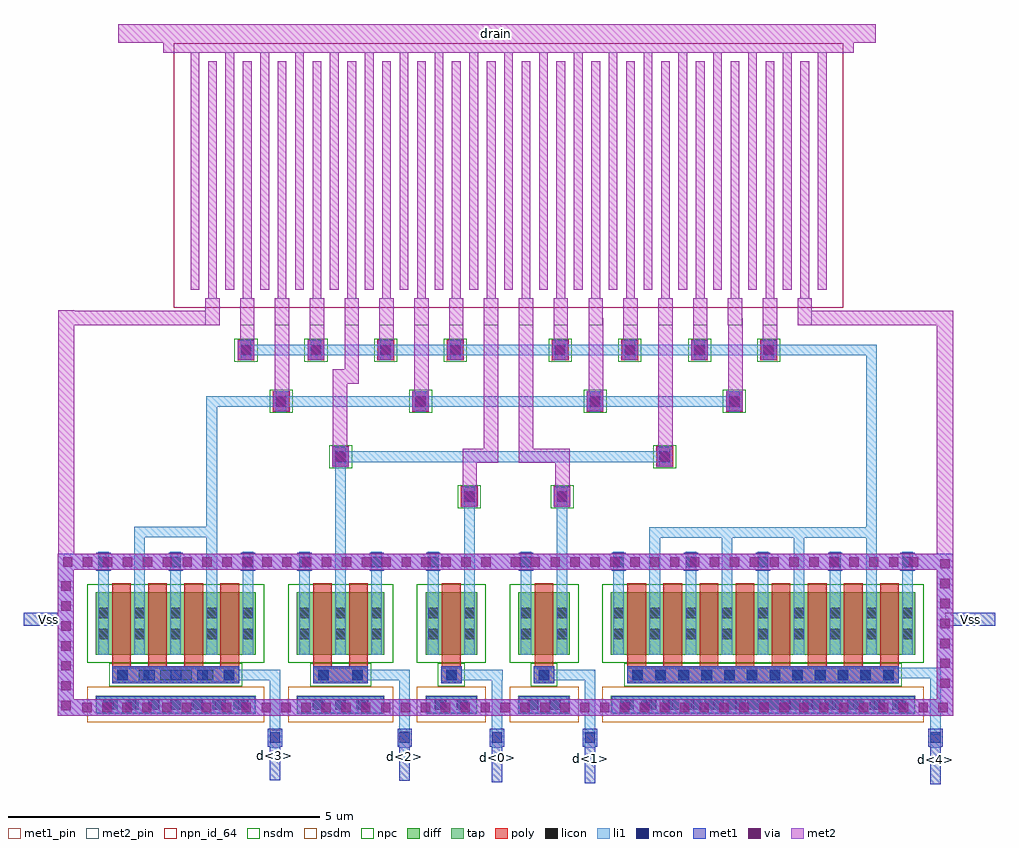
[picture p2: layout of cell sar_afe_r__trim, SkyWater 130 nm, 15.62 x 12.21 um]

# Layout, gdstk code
import gdstk
lib = gdstk.Library(unit=1e-6, precision=1e-09)
def R(c, l, rs):  # rectangles x0, y0, x1, y1
    for r in rs: c.add(gdstk.rectangle(r[:2], r[2:], *l))
def A(c, l, x, y, w, h, nx, ny, dx, dy):  # array of equal rectangles
    R(c, l, [(x+i*dx, y+j*dy, x+i*dx+w, y+j*dy+h) for i in range(nx) for j in range(ny)])
diff = (65, 20)
tap = (65, 44)
poly = (66, 20)
licon = (66, 44)
li1 = (67, 20)
mcon = (67, 44)
met1_pin = (68, 16)
met1 = (68, 20)
via = (68, 44)
met2_pin = (69, 16)
met2 = (69, 20)
npn_id_64 = (82, 64)
nsdm = (93, 44)
psdm = (94, 20)
npc = (95, 20)

sar_afe_r__nfet_01v8_cdn = lib.new_cell('sar_afe_r__nfet_01v8_CDNS_7924640690814')
R(sar_afe_r__nfet_01v8_cdn, diff, [(-0.265,0,0,1), (0,0,0.3,1), (0.3,0,0.565,1)])
R(sar_afe_r__nfet_01v8_cdn, tap, [(-0.265,-0.95,0.565,-0.66)])
R(sar_afe_r__nfet_01v8_cdn, poly, [(-0.015,-0.46,0.315,-0.19), (0,-0.19,0.3,0), (0,0,0.3,1), (0,1,0.3,1.15)])
R(sar_afe_r__nfet_01v8_cdn, licon, [(-0.105,-0.89,0.065,-0.72), (0.235,-0.89,0.405,-0.72), (0.065,-0.41,0.235,-0.24), (-0.225,0.245,-0.055,0.415), (0.355,0.245,0.525,0.415), (-0.225,0.585,-0.055,0.755), (0.355,0.585,0.525,0.755)])
R(sar_afe_r__nfet_01v8_cdn, li1, [(-0.255,-0.94,0.555,-0.67), (-0.015,-0.44,0.315,-0.21), (-0.225,0,-0.055,1), (0.355,0,0.525,1)])
R(sar_afe_r__nfet_01v8_cdn, mcon, [(-0.115,-0.89,0.055,-0.72), (0.245,-0.89,0.415,-0.72), (0.065,-0.41,0.235,-0.24)])
R(sar_afe_r__nfet_01v8_cdn, met1, [(-0.255,-0.94,0.555,-0.67), (-0.015,-0.46,0.315,-0.19)])
R(sar_afe_r__nfet_01v8_cdn, nsdm, [(-0.405,-0.13,0.705,1.13)])
R(sar_afe_r__nfet_01v8_cdn, psdm, [(-0.405,-1.09,0.705,-0.52)])
R(sar_afe_r__nfet_01v8_cdn, npc, [(-0.065,-0.51,0.365,-0.14)])
sar_afe_r__nfet_01v8_cdn.add(gdstk.Label('B', (0.15,-0.805), layer=68, texttype=20))
sar_afe_r__nfet_01v8_cdn.add(gdstk.Label('G_gcb_1', (0.15,-0.325), layer=68, texttype=20))
sar_afe_r__nfet_01v8_cdn.add(gdstk.Label('G_gcb_1', (0.15,-0.325), layer=67, texttype=20))
sar_afe_r__nfet_01v8_cdn.add(gdstk.Label('D_drain_1', (0.44,0.5), layer=67, texttype=20))
sar_afe_r__nfet_01v8_cdn.add(gdstk.Label('S_source_0', (-0.14,0.5), layer=67, texttype=20))
sar_afe_r__nfet_01v8_cdn.add(gdstk.Label('D_drain_1', (0.432,0.5), layer=65, texttype=20))
sar_afe_r__nfet_01v8_cdn.add(gdstk.Label('S_source_0', (-0.132,0.5), layer=65, texttype=20))

c_sar_afe_r__nfet_01v8_cdn = lib.new_cell('sar_afe_r__nfet_01v8_CDNS_7924640690815')
A(c_sar_afe_r__nfet_01v8_cdn, diff, 0, 0, 0.3, 1, 8, 1, 0.58, 0)
A(c_sar_afe_r__nfet_01v8_cdn, diff, 0.3, 0, 0.28, 1, 7, 1, 0.58, 0)
R(c_sar_afe_r__nfet_01v8_cdn, diff, [(-0.265,0,0,1), (4.36,0,4.625,1)])
R(c_sar_afe_r__nfet_01v8_cdn, tap, [(-0.265,-0.95,4.625,-0.66)])
A(c_sar_afe_r__nfet_01v8_cdn, poly, 0, -0.19, 0.3, 0.19, 8, 1, 0.58, 0)
A(c_sar_afe_r__nfet_01v8_cdn, poly, 0, 0, 0.3, 1, 8, 1, 0.58, 0)
A(c_sar_afe_r__nfet_01v8_cdn, poly, 0, 1, 0.3, 0.15, 8, 1, 0.58, 0)
R(c_sar_afe_r__nfet_01v8_cdn, poly, [(0,-0.46,4.36,-0.19)])
A(c_sar_afe_r__nfet_01v8_cdn, licon, -0.115, -0.89, 0.17, 0.17, 14, 1, 0.34, 0)
A(c_sar_afe_r__nfet_01v8_cdn, licon, 0.08, -0.41, 0.17, 0.17, 4, 1, 0.37, 0)
A(c_sar_afe_r__nfet_01v8_cdn, licon, 1.555, -0.41, 0.17, 0.17, 8, 1, 0.365, 0)
A(c_sar_afe_r__nfet_01v8_cdn, licon, -0.225, 0.245, 0.17, 0.17, 9, 2, 0.58, 0.34)
A(c_sar_afe_r__nfet_01v8_cdn, li1, -0.225, 0, 0.17, 1, 9, 1, 0.58, 0)
R(c_sar_afe_r__nfet_01v8_cdn, li1, [(-0.255,-0.94,4.615,-0.67), (0,-0.44,4.36,-0.21)])
A(c_sar_afe_r__nfet_01v8_cdn, mcon, -0.065, -0.89, 0.17, 0.17, 13, 1, 0.36, 0)
A(c_sar_afe_r__nfet_01v8_cdn, mcon, 0.08, -0.41, 0.17, 0.17, 4, 1, 0.37, 0)
A(c_sar_afe_r__nfet_01v8_cdn, mcon, 1.555, -0.41, 0.17, 0.17, 8, 1, 0.365, 0)
R(c_sar_afe_r__nfet_01v8_cdn, met1, [(-0.255,-0.94,4.615,-0.67), (0,-0.46,4.36,-0.19)])
R(c_sar_afe_r__nfet_01v8_cdn, nsdm, [(-0.405,-0.13,4.765,1.13)])
R(c_sar_afe_r__nfet_01v8_cdn, psdm, [(-0.405,-1.09,4.765,-0.52)])
R(c_sar_afe_r__nfet_01v8_cdn, npc, [(-0.05,-0.51,4.41,-0.14)])
c_sar_afe_r__nfet_01v8_cdn.add(gdstk.Label('B', (2.18,-0.805), layer=68, texttype=20))
c_sar_afe_r__nfet_01v8_cdn.add(gdstk.Label('G_gcb_1', (2.18,-0.325), layer=68, texttype=20))
c_sar_afe_r__nfet_01v8_cdn.add(gdstk.Label('G_gcb_1', (2.18,-0.325), layer=67, texttype=20))
c_sar_afe_r__nfet_01v8_cdn.add(gdstk.Label('S_source_8', (4.5,0.5), layer=67, texttype=20))
c_sar_afe_r__nfet_01v8_cdn.add(gdstk.Label('D_drain_7', (3.92,0.5), layer=67, texttype=20))
c_sar_afe_r__nfet_01v8_cdn.add(gdstk.Label('S_source_6', (3.34,0.5), layer=67, texttype=20))
c_sar_afe_r__nfet_01v8_cdn.add(gdstk.Label('D_drain_5', (2.76,0.5), layer=67, texttype=20))
c_sar_afe_r__nfet_01v8_cdn.add(gdstk.Label('S_source_4', (2.18,0.5), layer=67, texttype=20))
c_sar_afe_r__nfet_01v8_cdn.add(gdstk.Label('D_drain_3', (1.6,0.5), layer=67, texttype=20))
c_sar_afe_r__nfet_01v8_cdn.add(gdstk.Label('S_source_2', (1.02,0.5), layer=67, texttype=20))
c_sar_afe_r__nfet_01v8_cdn.add(gdstk.Label('D_drain_1', (0.44,0.5), layer=67, texttype=20))
c_sar_afe_r__nfet_01v8_cdn.add(gdstk.Label('S_source_0', (-0.14,0.5), layer=67, texttype=20))
c_sar_afe_r__nfet_01v8_cdn.add(gdstk.Label('S_source_8', (4.492,0.5), layer=65, texttype=20))
c_sar_afe_r__nfet_01v8_cdn.add(gdstk.Label('S_source_0', (-0.132,0.5), layer=65, texttype=20))

c_sar_afe_r__nfet_01v8_cdn_ = lib.new_cell('sar_afe_r__nfet_01v8_CDNS_7924640690816')
R(c_sar_afe_r__nfet_01v8_cdn_, diff, [(-0.265,0,0,1), (0,0,0.3,1), (0.3,0,0.58,1), (0.58,0,0.88,1), (0.88,0,1.145,1)])
R(c_sar_afe_r__nfet_01v8_cdn_, tap, [(-0.265,-0.95,1.145,-0.66)])
R(c_sar_afe_r__nfet_01v8_cdn_, poly, [(0,-0.46,0.88,-0.19), (0,-0.19,0.3,0), (0.58,-0.19,0.88,0), (0,0,0.3,1), (0.58,0,0.88,1), (0,1,0.3,1.15), (0.58,1,0.88,1.15)])
A(c_sar_afe_r__nfet_01v8_cdn_, licon, 0.015, -0.89, 0.17, 0.17, 3, 1, 0.34, 0)
A(c_sar_afe_r__nfet_01v8_cdn_, licon, -0.225, 0.245, 0.17, 0.17, 3, 2, 0.58, 0.34)
R(c_sar_afe_r__nfet_01v8_cdn_, licon, [(0.08,-0.41,0.25,-0.24), (0.63,-0.41,0.8,-0.24)])
A(c_sar_afe_r__nfet_01v8_cdn_, li1, -0.225, 0, 0.17, 1, 3, 1, 0.58, 0)
R(c_sar_afe_r__nfet_01v8_cdn_, li1, [(-0.255,-0.94,1.135,-0.67), (0,-0.44,0.88,-0.21)])
A(c_sar_afe_r__nfet_01v8_cdn_, mcon, -0.005, -0.89, 0.17, 0.17, 3, 1, 0.36, 0)
R(c_sar_afe_r__nfet_01v8_cdn_, mcon, [(0.08,-0.41,0.25,-0.24), (0.63,-0.41,0.8,-0.24)])
R(c_sar_afe_r__nfet_01v8_cdn_, met1, [(-0.255,-0.94,1.135,-0.67), (0,-0.46,0.88,-0.19)])
R(c_sar_afe_r__nfet_01v8_cdn_, nsdm, [(-0.405,-0.13,1.285,1.13)])
R(c_sar_afe_r__nfet_01v8_cdn_, psdm, [(-0.405,-1.09,1.285,-0.52)])
R(c_sar_afe_r__nfet_01v8_cdn_, npc, [(-0.05,-0.51,0.93,-0.14)])
c_sar_afe_r__nfet_01v8_cdn_.add(gdstk.Label('B', (0.44,-0.805), layer=68, texttype=20))
c_sar_afe_r__nfet_01v8_cdn_.add(gdstk.Label('G_gcb_1', (0.44,-0.325), layer=68, texttype=20))
c_sar_afe_r__nfet_01v8_cdn_.add(gdstk.Label('G_gcb_1', (0.44,-0.325), layer=67, texttype=20))
c_sar_afe_r__nfet_01v8_cdn_.add(gdstk.Label('S_source_2', (1.02,0.5), layer=67, texttype=20))
c_sar_afe_r__nfet_01v8_cdn_.add(gdstk.Label('D_drain_1', (0.44,0.5), layer=67, texttype=20))
c_sar_afe_r__nfet_01v8_cdn_.add(gdstk.Label('S_source_0', (-0.14,0.5), layer=67, texttype=20))
c_sar_afe_r__nfet_01v8_cdn_.add(gdstk.Label('S_source_2', (1.012,0.5), layer=65, texttype=20))
c_sar_afe_r__nfet_01v8_cdn_.add(gdstk.Label('S_source_0', (-0.132,0.5), layer=65, texttype=20))

c_sar_afe_r__nfet_01v8_cdn__ = lib.new_cell('sar_afe_r__nfet_01v8_CDNS_7924640690817')
A(c_sar_afe_r__nfet_01v8_cdn__, diff, 0, 0, 0.3, 1, 4, 1, 0.58, 0)
A(c_sar_afe_r__nfet_01v8_cdn__, diff, 0.3, 0, 0.28, 1, 3, 1, 0.58, 0)
R(c_sar_afe_r__nfet_01v8_cdn__, diff, [(-0.265,0,0,1), (2.04,0,2.305,1)])
R(c_sar_afe_r__nfet_01v8_cdn__, tap, [(-0.265,-0.95,2.305,-0.66)])
A(c_sar_afe_r__nfet_01v8_cdn__, poly, 0, -0.19, 0.3, 0.19, 4, 1, 0.58, 0)
A(c_sar_afe_r__nfet_01v8_cdn__, poly, 0, 0, 0.3, 1, 4, 1, 0.58, 0)
A(c_sar_afe_r__nfet_01v8_cdn__, poly, 0, 1, 0.3, 0.15, 4, 1, 0.58, 0)
R(c_sar_afe_r__nfet_01v8_cdn__, poly, [(0,-0.46,2.04,-0.19)])
A(c_sar_afe_r__nfet_01v8_cdn__, licon, -0.085, -0.89, 0.17, 0.17, 7, 1, 0.34, 0)
A(c_sar_afe_r__nfet_01v8_cdn__, licon, 0.08, -0.41, 0.17, 0.17, 3, 1, 0.345, 0)
A(c_sar_afe_r__nfet_01v8_cdn__, licon, 1.11, -0.41, 0.17, 0.17, 3, 1, 0.34, 0)
A(c_sar_afe_r__nfet_01v8_cdn__, licon, -0.225, 0.245, 0.17, 0.17, 5, 2, 0.58, 0.34)
A(c_sar_afe_r__nfet_01v8_cdn__, li1, -0.225, 0, 0.17, 1, 5, 1, 0.58, 0)
R(c_sar_afe_r__nfet_01v8_cdn__, li1, [(-0.255,-0.94,2.295,-0.67), (0,-0.44,2.04,-0.21)])
A(c_sar_afe_r__nfet_01v8_cdn__, mcon, -0.145, -0.89, 0.17, 0.17, 7, 1, 0.36, 0)
A(c_sar_afe_r__nfet_01v8_cdn__, mcon, 0.08, -0.41, 0.17, 0.17, 3, 1, 0.43, 0)
R(c_sar_afe_r__nfet_01v8_cdn__, mcon, [(1.365,-0.41,1.535,-0.24), (1.79,-0.41,1.96,-0.24)])
R(c_sar_afe_r__nfet_01v8_cdn__, met1, [(-0.255,-0.94,2.295,-0.67), (0,-0.46,2.04,-0.19)])
R(c_sar_afe_r__nfet_01v8_cdn__, nsdm, [(-0.405,-0.13,2.445,1.13)])
R(c_sar_afe_r__nfet_01v8_cdn__, psdm, [(-0.405,-1.09,2.445,-0.52)])
R(c_sar_afe_r__nfet_01v8_cdn__, npc, [(-0.05,-0.51,2.09,-0.14)])
c_sar_afe_r__nfet_01v8_cdn__.add(gdstk.Label('B', (1.02,-0.805), layer=68, texttype=20))
c_sar_afe_r__nfet_01v8_cdn__.add(gdstk.Label('G_gcb_1', (1.02,-0.325), layer=68, texttype=20))
c_sar_afe_r__nfet_01v8_cdn__.add(gdstk.Label('G_gcb_1', (1.02,-0.325), layer=67, texttype=20))
c_sar_afe_r__nfet_01v8_cdn__.add(gdstk.Label('S_source_4', (2.18,0.5), layer=67, texttype=20))
c_sar_afe_r__nfet_01v8_cdn__.add(gdstk.Label('D_drain_3', (1.6,0.5), layer=67, texttype=20))
c_sar_afe_r__nfet_01v8_cdn__.add(gdstk.Label('S_source_2', (1.02,0.5), layer=67, texttype=20))
c_sar_afe_r__nfet_01v8_cdn__.add(gdstk.Label('D_drain_1', (0.44,0.5), layer=67, texttype=20))
c_sar_afe_r__nfet_01v8_cdn__.add(gdstk.Label('S_source_0', (-0.14,0.5), layer=67, texttype=20))
c_sar_afe_r__nfet_01v8_cdn__.add(gdstk.Label('S_source_4', (2.172,0.5), layer=65, texttype=20))
c_sar_afe_r__nfet_01v8_cdn__.add(gdstk.Label('S_source_0', (-0.132,0.5), layer=65, texttype=20))

sar_afe_r__sarcta__c0 = lib.new_cell('sar_afe_r__sarcta__C0')
R(sar_afe_r__sarcta__c0, met2_pin, [(0.675,-0.315,0.905,0.12), (0,4.07,1.58,4.39)])
R(sar_afe_r__sarcta__c0, met2, [(0.675,-0.315,0.905,0.12), (0.72,0.12,0.86,3.93), (0.44,0.26,0.58,4.07), (1,0.26,1.14,4.07), (0,4.07,1.58,4.39)])
R(sar_afe_r__sarcta__c0, npn_id_64, [(0.17,-0.03,1.41,4.22), (0.17,-0.03,1.41,4.22)])
sar_afe_r__sarcta__c0.add(gdstk.Label('cn', (0.79,-0.097), layer=69, texttype=20))
sar_afe_r__sarcta__c0.add(gdstk.Label('cp', (0.79,4.23), layer=69, texttype=20))
sar_afe_r__sarcta__c0.add(gdstk.Label('cp', (0.79,4.23), layer=69, texttype=16))
sar_afe_r__sarcta__c0.add(gdstk.Label('cn', (0.79,-0.097), layer=69, texttype=16))

sar_afe_r__sarct__trim_a = lib.new_cell('sar_afe_r__sarct__trim_array')
sar_afe_r__sarct__trim_a.add(gdstk.Reference(sar_afe_r__sarcta__c0, (0,0.115)))
sar_afe_r__sarct__trim_a.add(gdstk.Reference(sar_afe_r__sarcta__c0, (9.52,0.115)))
sar_afe_r__sarct__trim_a.add(gdstk.Reference(sar_afe_r__sarcta__c0, (8.96,0.115)))
sar_afe_r__sarct__trim_a.add(gdstk.Reference(sar_afe_r__sarcta__c0, (8.4,0.115)))
sar_afe_r__sarct__trim_a.add(gdstk.Reference(sar_afe_r__sarcta__c0, (7.84,0.115)))
sar_afe_r__sarct__trim_a.add(gdstk.Reference(sar_afe_r__sarcta__c0, (7.28,0.115)))
sar_afe_r__sarct__trim_a.add(gdstk.Reference(sar_afe_r__sarcta__c0, (6.72,0.115)))
sar_afe_r__sarct__trim_a.add(gdstk.Reference(sar_afe_r__sarcta__c0, (6.16,0.115)))
sar_afe_r__sarct__trim_a.add(gdstk.Reference(sar_afe_r__sarcta__c0, (5.6,0.115)))
sar_afe_r__sarct__trim_a.add(gdstk.Reference(sar_afe_r__sarcta__c0, (5.04,0.115)))
sar_afe_r__sarct__trim_a.add(gdstk.Reference(sar_afe_r__sarcta__c0, (4.48,0.115)))
sar_afe_r__sarct__trim_a.add(gdstk.Reference(sar_afe_r__sarcta__c0, (3.92,0.115)))
sar_afe_r__sarct__trim_a.add(gdstk.Reference(sar_afe_r__sarcta__c0, (3.36,0.115)))
sar_afe_r__sarct__trim_a.add(gdstk.Reference(sar_afe_r__sarcta__c0, (2.8,0.115)))
sar_afe_r__sarct__trim_a.add(gdstk.Reference(sar_afe_r__sarcta__c0, (2.24,0.115)))
sar_afe_r__sarct__trim_a.add(gdstk.Reference(sar_afe_r__sarcta__c0, (1.68,0.115)))
sar_afe_r__sarct__trim_a.add(gdstk.Reference(sar_afe_r__sarcta__c0, (1.12,0.115)))
sar_afe_r__sarct__trim_a.add(gdstk.Reference(sar_afe_r__sarcta__c0, (0.56,0.115)))

sar_afe_r__l1m1_c_cdns_7 = lib.new_cell('sar_afe_r__L1M1_C_CDNS_7924640690836')
R(sar_afe_r__l1m1_c_cdns_7, li1, [(-0.085,-0.165,0.085,0.165)])
R(sar_afe_r__l1m1_c_cdns_7, mcon, [(-0.085,-0.085,0.085,0.085)])
R(sar_afe_r__l1m1_c_cdns_7, met1, [(-0.115,-0.145,0.115,0.145)])

sar_afe_r__m1m2_c_cdns_7 = lib.new_cell('sar_afe_r__M1M2_C_CDNS_792464069080')
R(sar_afe_r__m1m2_c_cdns_7, met1, [(-0.13,-0.16,0.13,0.16)])
R(sar_afe_r__m1m2_c_cdns_7, via, [(-0.075,-0.075,0.075,0.075)])
R(sar_afe_r__m1m2_c_cdns_7, met2, [(-0.13,-0.16,0.13,0.16)])

sar_afe_r__polyconn_cdns = lib.new_cell('sar_afe_r__polyConn_CDNS_7924640690813')
R(sar_afe_r__polyconn_cdns, poly, [(-0.135,-0.165,0.135,0.165)])
R(sar_afe_r__polyconn_cdns, licon, [(-0.085,-0.085,0.085,0.085)])
R(sar_afe_r__polyconn_cdns, li1, [(-0.085,-0.165,0.085,0.165)])
R(sar_afe_r__polyconn_cdns, mcon, [(-0.085,-0.085,0.085,0.085)])
R(sar_afe_r__polyconn_cdns, met1, [(-0.13,-0.16,0.13,0.16)])
R(sar_afe_r__polyconn_cdns, npc, [(-0.185,-0.185,0.185,0.185)])

sar_afe_r__trim = lib.new_cell('sar_afe_r__trim')
R(sar_afe_r__trim, met1_pin, [(14.03,-0.025,14.2,0.775), (8.48,-0.01,8.65,0.79), (6.985,0.005,7.155,0.805), (5.5,0.025,5.67,0.825), (3.415,0.035,3.585,0.835), (14.27,2.52,15.08,2.725)])
R(sar_afe_r__trim, met1, [(14.03,-0.025,14.2,0.775), (8.48,-0.01,8.65,0.79), (6.985,0.005,7.155,0.805), (5.5,0.025,5.67,0.825), (3.415,0.035,3.585,0.835), (3.415,0.035,3.585,0.835), (-0.54,2.52,0.27,2.725), (14.27,2.52,15.08,2.725)])
A(sar_afe_r__trim, via, 0.405, 1.13, 0.15, 0.15, 44, 1, 0.32, 0)
A(sar_afe_r__trim, via, 0.065, 1.16, 0.15, 0.15, 1, 7, 0, 0.32)
A(sar_afe_r__trim, via, 14.195, 1.52, 0.15, 0.15, 1, 7, 0, 0.32)
A(sar_afe_r__trim, via, 0.095, 3.47, 0.15, 0.15, 22, 1, 0.32, 0)
A(sar_afe_r__trim, via, 7.29, 3.47, 0.15, 0.15, 21, 1, 0.32, 0)
R(sar_afe_r__trim, met2_pin, [(0.98,11.89,13.155,12.19)])
R(sar_afe_r__trim, met2, [(0.98,11.89,13.155,12.19)])
sar_afe_r__trim.add(gdstk.FlexPath([(7.535,5.25),(8.12,5.25)], 0.23, ends="extended", simple_path=True, layer=69, datatype=20))  # met2
sar_afe_r__trim.add(gdstk.FlexPath([(2.475,7.465),(0.15,7.465)], 0.23, ends=(0.13, 0.13), simple_path=True, layer=69, datatype=20))  # met2
sar_afe_r__trim.add(gdstk.FlexPath([(14.175,7.465),(11.905,7.465)], 0.23, ends=(0.13, 0), simple_path=True, layer=69, datatype=20))  # met2
sar_afe_r__trim.add(gdstk.FlexPath([(8.66,7.46),(8.66,6.125)], 0.23, ends="flush", simple_path=True, layer=69, datatype=20))  # met2
sar_afe_r__trim.add(gdstk.FlexPath([(6.975,7.46),(6.975,5.25)], 0.23, ends=(0, 0.115), simple_path=True, layer=69, datatype=20))  # met2
sar_afe_r__trim.add(gdstk.FlexPath([(10.9,7.46),(10.9,6.125)], 0.23, ends="flush", simple_path=True, layer=69, datatype=20))  # met2
sar_afe_r__trim.add(gdstk.FlexPath([(3.055,7.46),(3.055,6.945)], 0.23, ends="flush", simple_path=True, layer=69, datatype=20))  # met2
sar_afe_r__trim.add(gdstk.FlexPath([(7.535,7.46),(7.535,5.25)], 0.23, ends=(0, 0.115), simple_path=True, layer=69, datatype=20))  # met2
sar_afe_r__trim.add(gdstk.FlexPath([(5.295,7.665),(5.295,6.945)], 0.23, ends="flush", simple_path=True, layer=69, datatype=20))  # met2
sar_afe_r__trim.add(gdstk.FlexPath([(4.175,7.46),(4.175,6.945)], 0.23, ends="flush", simple_path=True, layer=69, datatype=20))  # met2
sar_afe_r__trim.add(gdstk.FlexPath([(8.095,7.46),(8.095,6.945)], 0.23, ends="flush", simple_path=True, layer=69, datatype=20))  # met2
sar_afe_r__trim.add(gdstk.FlexPath([(10.335,7.46),(10.335,6.945)], 0.23, ends="flush", simple_path=True, layer=69, datatype=20))  # met2
sar_afe_r__trim.add(gdstk.FlexPath([(6.415,7.46),(6.415,6.945)], 0.23, ends="flush", simple_path=True, layer=69, datatype=20))  # met2
sar_afe_r__trim.add(gdstk.FlexPath([(11.455,7.46),(11.455,6.945)], 0.23, ends="flush", simple_path=True, layer=69, datatype=20))  # met2
sar_afe_r__trim.add(gdstk.FlexPath([(8.12,5.25),(8.12,4.595)], 0.23, ends=(0.115, 0), simple_path=True, layer=69, datatype=20))  # met2
sar_afe_r__trim.add(gdstk.FlexPath([(6.63,5.25),(6.63,4.595)], 0.23, ends=(0.115, 0), simple_path=True, layer=69, datatype=20))  # met2
sar_afe_r__trim.add(gdstk.FlexPath([(5.855,7.46),(5.855,6.125)], 0.23, ends="flush", simple_path=True, layer=69, datatype=20))  # met2
sar_afe_r__trim.add(gdstk.FlexPath([(4.735,7.46),(4.735,6.525)], 0.23, ends=(0, 0.115), simple_path=True, layer=69, datatype=20))  # met2
sar_afe_r__trim.add(gdstk.FlexPath([(7.205,3.545),(14.27,3.545),(14.27,1.205),(0.14,1.205),(0.14,3.545),(7.205,3.545)], 0.26, ends="flush", simple_path=True, layer=69, datatype=20))  # met2
sar_afe_r__trim.add(gdstk.FlexPath([(9.215,7.46),(9.215,6.945)], 0.23, ends="flush", simple_path=True, layer=69, datatype=20))  # met2
sar_afe_r__trim.add(gdstk.FlexPath([(9.775,7.46),(9.775,5.26)], 0.23, ends="flush", simple_path=True, layer=69, datatype=20))  # met2
sar_afe_r__trim.add(gdstk.FlexPath([(3.615,7.46),(3.615,6.125)], 0.23, ends="flush", simple_path=True, layer=69, datatype=20))  # met2
sar_afe_r__trim.add(gdstk.FlexPath([(6.975,5.25),(6.63,5.25)], 0.23, ends="extended", simple_path=True, layer=69, datatype=20))  # met2
sar_afe_r__trim.add(gdstk.FlexPath([(4.735,6.525),(4.545,6.525)], 0.23, ends="extended", simple_path=True, layer=69, datatype=20))  # met2
sar_afe_r__trim.add(gdstk.FlexPath([(14.27,7.58),(14.27,3.415)], 0.26, ends="flush", simple_path=True, layer=69, datatype=20))  # met2
sar_afe_r__trim.add(gdstk.FlexPath([(0.145,7.59),(0.145,3.415)], 0.26, ends="flush", simple_path=True, layer=69, datatype=20))  # met2
sar_afe_r__trim.add(gdstk.FlexPath([(4.545,6.525),(4.545,5.235)], 0.23, ends=(0.115, 0), simple_path=True, layer=69, datatype=20))  # met2
sar_afe_r__trim.add(gdstk.FlexPath([(7.205,3.545),(14.27,3.545),(14.27,1.205),(0.14,1.205),(0.14,3.545),(7.205,3.545)], 0.26, ends="flush", simple_path=True, layer=68, datatype=20))  # met1
sar_afe_r__trim.add(gdstk.FlexPath([(5.585,1.73),(5.585,1.755)], 0.17, ends=(0.085, 0), simple_path=True, layer=67, datatype=20))  # li1
sar_afe_r__trim.add(gdstk.FlexPath([(5.58,1.73),(4.965,1.73)], 0.17, ends=(0.085, 0), simple_path=True, layer=67, datatype=20))  # li1
sar_afe_r__trim.add(gdstk.FlexPath([(7.07,1.73),(6.45,1.73)], 0.17, ends=(0.085, 0), simple_path=True, layer=67, datatype=20))  # li1
sar_afe_r__trim.add(gdstk.FlexPath([(14.2,1.76),(13.525,1.76)], 0.17, ends="flush", simple_path=True, layer=67, datatype=20))  # li1
sar_afe_r__trim.add(gdstk.FlexPath([(8.565,1.73),(7.99,1.73)], 0.17, ends=(0.085, 0), simple_path=True, layer=67, datatype=20))  # li1
sar_afe_r__trim.add(gdstk.FlexPath([(7.075,1.73),(7.07,1.73)], 0.17, ends="extended", simple_path=True, layer=67, datatype=20))  # li1
sar_afe_r__trim.add(gdstk.FlexPath([(5.585,1.73),(5.58,1.73)], 0.17, ends="extended", simple_path=True, layer=67, datatype=20))  # li1
sar_afe_r__trim.add(gdstk.FlexPath([(5.58,1.76),(5.58,1.73)], 0.17, ends=(0, 0.085), simple_path=True, layer=67, datatype=20))  # li1
sar_afe_r__trim.add(gdstk.FlexPath([(3.5,1.73),(2.925,1.73)], 0.17, ends=(0.085, 0), simple_path=True, layer=67, datatype=20))  # li1
sar_afe_r__trim.add(gdstk.FlexPath([(3.5,1.73),(3.5,1.78)], 0.17, ends=(0.085, 0), simple_path=True, layer=67, datatype=20))  # li1
sar_afe_r__trim.add(gdstk.FlexPath([(2.485,4.025),(2.485,6.125)], 0.17, ends="extended", simple_path=True, layer=67, datatype=20))  # li1
sar_afe_r__trim.add(gdstk.FlexPath([(2.485,4.025),(2.54,4.025)], 0.17, ends=(0.085, 0), simple_path=True, layer=67, datatype=20))  # li1
sar_afe_r__trim.add(gdstk.FlexPath([(1.325,4.025),(2.485,4.025)], 0.17, ends="extended", simple_path=True, layer=67, datatype=20))  # li1
sar_afe_r__trim.add(gdstk.FlexPath([(1.325,3.055),(1.325,4.025)], 0.17, ends=(0, 0.085), simple_path=True, layer=67, datatype=20))  # li1
sar_afe_r__trim.add(gdstk.FlexPath([(2.485,6.125),(10.885,6.125)], 0.17, ends=(0.085, 0), simple_path=True, layer=67, datatype=20))  # li1
sar_afe_r__trim.add(gdstk.FlexPath([(2.485,3.055),(2.485,4.025)], 0.17, ends=(0, 0.085), simple_path=True, layer=67, datatype=20))  # li1
sar_afe_r__trim.add(gdstk.FlexPath([(8.565,0.83),(8.565,1.73)], 0.17, ends="flush", simple_path=True, layer=67, datatype=20))  # li1
sar_afe_r__trim.add(gdstk.FlexPath([(14.115,0.83),(14.115,1.755)], 0.17, ends="flush", simple_path=True, layer=67, datatype=20))  # li1
sar_afe_r__trim.add(gdstk.FlexPath([(3.5,0.83),(3.5,1.73)], 0.17, ends=(0, 0.085), simple_path=True, layer=67, datatype=20))  # li1
sar_afe_r__trim.add(gdstk.FlexPath([(5.585,0.83),(5.585,1.73)], 0.17, ends=(0, 0.085), simple_path=True, layer=67, datatype=20))  # li1
sar_afe_r__trim.add(gdstk.FlexPath([(7.07,0.83),(7.07,1.73)], 0.17, ends=(0, 0.085), simple_path=True, layer=67, datatype=20))  # li1
sar_afe_r__trim.add(gdstk.FlexPath([(13.085,6.95),(3.035,6.95)], 0.17, ends=(0.085, 0), simple_path=True, layer=67, datatype=20))  # li1
sar_afe_r__trim.add(gdstk.FlexPath([(8.115,3.055),(8.115,4.74)], 0.17, ends="flush", simple_path=True, layer=67, datatype=20))  # li1
sar_afe_r__trim.add(gdstk.FlexPath([(13.665,3.055),(13.665,3.545)], 0.17, ends="flush", simple_path=True, layer=67, datatype=20))  # li1
sar_afe_r__trim.add(gdstk.FlexPath([(12.505,3.055),(12.505,3.545)], 0.17, ends="flush", simple_path=True, layer=67, datatype=20))  # li1
sar_afe_r__trim.add(gdstk.FlexPath([(11.345,3.055),(11.345,3.545)], 0.17, ends="flush", simple_path=True, layer=67, datatype=20))  # li1
sar_afe_r__trim.add(gdstk.FlexPath([(10.185,3.055),(10.185,3.545)], 0.17, ends="flush", simple_path=True, layer=67, datatype=20))  # li1
sar_afe_r__trim.add(gdstk.FlexPath([(9.025,3.055),(9.025,3.545)], 0.17, ends="flush", simple_path=True, layer=67, datatype=20))  # li1
sar_afe_r__trim.add(gdstk.FlexPath([(7.535,3.055),(7.535,3.545)], 0.17, ends="flush", simple_path=True, layer=67, datatype=20))  # li1
sar_afe_r__trim.add(gdstk.FlexPath([(6.045,3.055),(6.045,3.545)], 0.17, ends="flush", simple_path=True, layer=67, datatype=20))  # li1
sar_afe_r__trim.add(gdstk.FlexPath([(5.135,3.055),(5.135,3.545)], 0.17, ends="flush", simple_path=True, layer=67, datatype=20))  # li1
sar_afe_r__trim.add(gdstk.FlexPath([(3.975,3.055),(3.975,3.545)], 0.17, ends="flush", simple_path=True, layer=67, datatype=20))  # li1
sar_afe_r__trim.add(gdstk.FlexPath([(3.065,3.055),(3.065,3.545)], 0.17, ends="flush", simple_path=True, layer=67, datatype=20))  # li1
sar_afe_r__trim.add(gdstk.FlexPath([(1.905,3.055),(1.905,3.545)], 0.17, ends="flush", simple_path=True, layer=67, datatype=20))  # li1
sar_afe_r__trim.add(gdstk.FlexPath([(0.745,3.055),(0.745,3.545)], 0.17, ends="flush", simple_path=True, layer=67, datatype=20))  # li1
sar_afe_r__trim.add(gdstk.FlexPath([(13.085,3.055),(13.085,4.02)], 0.17, ends=(0, 0.085), simple_path=True, layer=67, datatype=20))  # li1
sar_afe_r__trim.add(gdstk.FlexPath([(6.625,3.055),(6.625,4.675)], 0.17, ends="flush", simple_path=True, layer=67, datatype=20))  # li1
sar_afe_r__trim.add(gdstk.FlexPath([(10.765,3.055),(10.765,4.02)], 0.17, ends=(0, 0.085), simple_path=True, layer=67, datatype=20))  # li1
sar_afe_r__trim.add(gdstk.FlexPath([(10.765,4.02),(9.605,4.02)], 0.17, ends="extended", simple_path=True, layer=67, datatype=20))  # li1
sar_afe_r__trim.add(gdstk.FlexPath([(13.085,4.02),(13.085,6.95)], 0.17, ends="extended", simple_path=True, layer=67, datatype=20))  # li1
sar_afe_r__trim.add(gdstk.FlexPath([(11.925,4.02),(13.085,4.02)], 0.17, ends="extended", simple_path=True, layer=67, datatype=20))  # li1
sar_afe_r__trim.add(gdstk.FlexPath([(11.925,4.02),(10.765,4.02)], 0.17, ends="extended", simple_path=True, layer=67, datatype=20))  # li1
sar_afe_r__trim.add(gdstk.FlexPath([(4.555,3.055),(4.555,5.235)], 0.17, ends="flush", simple_path=True, layer=67, datatype=20))  # li1
sar_afe_r__trim.add(gdstk.FlexPath([(9.605,4.02),(9.605,3.055)], 0.17, ends=(0.085, 0), simple_path=True, layer=67, datatype=20))  # li1
sar_afe_r__trim.add(gdstk.FlexPath([(11.925,3.055),(11.925,4.02)], 0.17, ends=(0, 0.085), simple_path=True, layer=67, datatype=20))  # li1
sar_afe_r__trim.add(gdstk.FlexPath([(2.445,6.125),(2.485,6.125)], 0.17, ends=(0, 0.085), simple_path=True, layer=67, datatype=20))  # li1
sar_afe_r__trim.add(gdstk.FlexPath([(4.555,5.235),(9.765,5.235)], 0.17, ends="flush", simple_path=True, layer=67, datatype=20))  # li1
sar_afe_r__trim.add(gdstk.Reference(sar_afe_r__nfet_01v8_cdn, (7.675,2.055)))
sar_afe_r__trim.add(gdstk.Reference(sar_afe_r__nfet_01v8_cdn, (6.185,2.055)))
sar_afe_r__trim.add(gdstk.Reference(c_sar_afe_r__nfet_01v8_cdn, (9.165,2.055)))
sar_afe_r__trim.add(gdstk.Reference(c_sar_afe_r__nfet_01v8_cdn_, (4.115,2.055)))
sar_afe_r__trim.add(gdstk.Reference(c_sar_afe_r__nfet_01v8_cdn__, (0.885,2.055)))
sar_afe_r__trim.add(gdstk.Reference(sar_afe_r__sarct__trim_a, (1.705,7.545)))
sar_afe_r__trim.add(gdstk.Reference(sar_afe_r__l1m1_c_cdns_7, (10.185,3.545)))
sar_afe_r__trim.add(gdstk.Reference(sar_afe_r__l1m1_c_cdns_7, (11.345,3.545)))
sar_afe_r__trim.add(gdstk.Reference(sar_afe_r__l1m1_c_cdns_7, (12.505,3.545)))
sar_afe_r__trim.add(gdstk.Reference(sar_afe_r__l1m1_c_cdns_7, (5.585,0.72)))
sar_afe_r__trim.add(gdstk.Reference(sar_afe_r__l1m1_c_cdns_7, (5.135,3.545)))
sar_afe_r__trim.add(gdstk.Reference(sar_afe_r__l1m1_c_cdns_7, (0.745,3.545)))
sar_afe_r__trim.add(gdstk.Reference(sar_afe_r__l1m1_c_cdns_7, (3.5,0.72)))
sar_afe_r__trim.add(gdstk.Reference(sar_afe_r__l1m1_c_cdns_7, (3.065,3.545)))
sar_afe_r__trim.add(gdstk.Reference(sar_afe_r__l1m1_c_cdns_7, (3.975,3.545)))
sar_afe_r__trim.add(gdstk.Reference(sar_afe_r__l1m1_c_cdns_7, (13.665,3.545)))
sar_afe_r__trim.add(gdstk.Reference(sar_afe_r__l1m1_c_cdns_7, (7.535,3.545)))
sar_afe_r__trim.add(gdstk.Reference(sar_afe_r__l1m1_c_cdns_7, (14.115,0.72)))
sar_afe_r__trim.add(gdstk.Reference(sar_afe_r__l1m1_c_cdns_7, (6.045,3.545)))
sar_afe_r__trim.add(gdstk.Reference(sar_afe_r__l1m1_c_cdns_7, (7.07,0.72)))
sar_afe_r__trim.add(gdstk.Reference(sar_afe_r__l1m1_c_cdns_7, (9.025,3.545)))
sar_afe_r__trim.add(gdstk.Reference(sar_afe_r__l1m1_c_cdns_7, (8.565,0.72)))
sar_afe_r__trim.add(gdstk.Reference(sar_afe_r__l1m1_c_cdns_7, (1.905,3.545)))
sar_afe_r__trim.add(gdstk.Reference(sar_afe_r__m1m2_c_cdns_7, (10.885,6.125)))
sar_afe_r__trim.add(gdstk.Reference(sar_afe_r__m1m2_c_cdns_7, (10.325,6.95)))
sar_afe_r__trim.add(gdstk.Reference(sar_afe_r__m1m2_c_cdns_7, (9.765,5.235)))
sar_afe_r__trim.add(gdstk.Reference(sar_afe_r__m1m2_c_cdns_7, (9.205,6.95)))
sar_afe_r__trim.add(gdstk.Reference(sar_afe_r__m1m2_c_cdns_7, (8.645,6.125)))
sar_afe_r__trim.add(gdstk.Reference(sar_afe_r__m1m2_c_cdns_7, (8.085,6.95)))
sar_afe_r__trim.add(gdstk.Reference(sar_afe_r__m1m2_c_cdns_7, (8.115,4.595)))
sar_afe_r__trim.add(gdstk.Reference(sar_afe_r__m1m2_c_cdns_7, (6.625,4.595)))
sar_afe_r__trim.add(gdstk.Reference(sar_afe_r__m1m2_c_cdns_7, (6.4,6.95)))
sar_afe_r__trim.add(gdstk.Reference(sar_afe_r__m1m2_c_cdns_7, (5.84,6.125)))
sar_afe_r__trim.add(gdstk.Reference(sar_afe_r__m1m2_c_cdns_7, (5.28,6.95)))
sar_afe_r__trim.add(gdstk.Reference(sar_afe_r__m1m2_c_cdns_7, (4.555,5.235)))
sar_afe_r__trim.add(gdstk.Reference(sar_afe_r__m1m2_c_cdns_7, (4.16,6.95)))
sar_afe_r__trim.add(gdstk.Reference(sar_afe_r__m1m2_c_cdns_7, (3.6,6.125)))
sar_afe_r__trim.add(gdstk.Reference(sar_afe_r__m1m2_c_cdns_7, (3.035,6.95)))
sar_afe_r__trim.add(gdstk.Reference(sar_afe_r__m1m2_c_cdns_7, (11.435,6.95)))
sar_afe_r__trim.add(gdstk.Reference(sar_afe_r__polyconn_cdns, (10.885,6.125)))
sar_afe_r__trim.add(gdstk.Reference(sar_afe_r__polyconn_cdns, (10.325,6.95)))
sar_afe_r__trim.add(gdstk.Reference(sar_afe_r__polyconn_cdns, (9.765,5.235)))
sar_afe_r__trim.add(gdstk.Reference(sar_afe_r__polyconn_cdns, (9.205,6.95)))
sar_afe_r__trim.add(gdstk.Reference(sar_afe_r__polyconn_cdns, (8.645,6.125)))
sar_afe_r__trim.add(gdstk.Reference(sar_afe_r__polyconn_cdns, (8.085,6.95)))
sar_afe_r__trim.add(gdstk.Reference(sar_afe_r__polyconn_cdns, (8.115,4.595)))
sar_afe_r__trim.add(gdstk.Reference(sar_afe_r__polyconn_cdns, (6.625,4.595)))
sar_afe_r__trim.add(gdstk.Reference(sar_afe_r__polyconn_cdns, (6.4,6.95)))
sar_afe_r__trim.add(gdstk.Reference(sar_afe_r__polyconn_cdns, (5.84,6.125)))
sar_afe_r__trim.add(gdstk.Reference(sar_afe_r__polyconn_cdns, (5.28,6.95)))
sar_afe_r__trim.add(gdstk.Reference(sar_afe_r__polyconn_cdns, (4.555,5.235)))
sar_afe_r__trim.add(gdstk.Reference(sar_afe_r__polyconn_cdns, (4.16,6.95)))
sar_afe_r__trim.add(gdstk.Reference(sar_afe_r__polyconn_cdns, (3.6,6.125)))
sar_afe_r__trim.add(gdstk.Reference(sar_afe_r__polyconn_cdns, (3.035,6.95)))
sar_afe_r__trim.add(gdstk.Reference(sar_afe_r__polyconn_cdns, (11.435,6.95)))
sar_afe_r__trim.add(gdstk.Label('drain', (7.067,12.04), layer=69, texttype=20))
sar_afe_r__trim.add(gdstk.Label('Vss', (14.675,2.622), layer=68, texttype=20))
sar_afe_r__trim.add(gdstk.Label('d<3>', (3.5,0.435), layer=68, texttype=20))
sar_afe_r__trim.add(gdstk.Label('Vss', (-0.135,2.622), layer=68, texttype=20))
sar_afe_r__trim.add(gdstk.Label('d<1>', (8.565,0.39), layer=68, texttype=20))
sar_afe_r__trim.add(gdstk.Label('d<2>', (5.585,0.425), layer=68, texttype=20))
sar_afe_r__trim.add(gdstk.Label('d<3>', (3.5,0.435), layer=68, texttype=20))
sar_afe_r__trim.add(gdstk.Label('d<4>', (14.115,0.375), layer=68, texttype=20))
sar_afe_r__trim.add(gdstk.Label('d<0>', (7.07,0.405), layer=68, texttype=20))
sar_afe_r__trim.add(gdstk.Label('drain', (7.067,12.04), layer=69, texttype=16))
sar_afe_r__trim.add(gdstk.Label('d<4>', (14.115,0.375), layer=68, texttype=16))
sar_afe_r__trim.add(gdstk.Label('d<1>', (8.565,0.39), layer=68, texttype=16))
sar_afe_r__trim.add(gdstk.Label('d<0>', (7.07,0.405), layer=68, texttype=16))
sar_afe_r__trim.add(gdstk.Label('d<2>', (5.585,0.425), layer=68, texttype=16))
sar_afe_r__trim.add(gdstk.Label('d<3>', (3.5,0.435), layer=68, texttype=16))
sar_afe_r__trim.add(gdstk.Label('Vss', (14.675,2.622), layer=68, texttype=16))

lib.write_gds('sar_afe_r__trim.gds')
